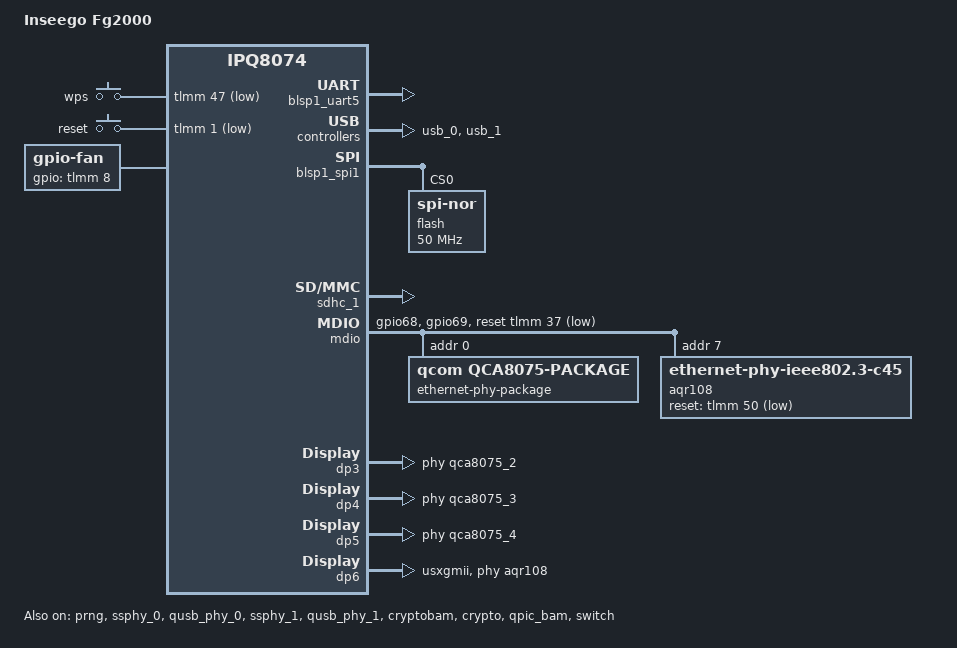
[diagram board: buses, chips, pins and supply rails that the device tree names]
/* SPDX-License-Identifier: GPL-2.0-or-later OR MIT
 *
 * Copyright (c) 2018 Teemo Pango <teemopango@gmail.com>
 *
 */

/dts-v1/;

#include "ipq8074.dtsi"
#include "ipq8074-ess.dtsi"
#include "ipq8074-nss.dtsi"
#include "ipq8074-common.dtsi"
#include "ipq8074-hk-cpu.dtsi"

#include <dt-bindings/gpio/gpio.h>
#include <dt-bindings/input/input.h>
#include <dt-bindings/leds/common.h>

/ {
	model = "Inseego Fg2000";
	compatible = "inseego,fg2000", "qcom,ipq8074";
	
	aliases {
		serial0 = &blsp1_uart5;
		ethernet0 = &dp1;
		ethernet1 = &dp2;
		ethernet2 = &dp3;
		ethernet3 = &dp4;
		ethernet4 = &dp5;
		ethernet5 = &dp6;
		label-mac-device = &dp3;
	};
	
	chosen {
		stdout-path = "serial0:115200n8";
	};
	
	keys {
		compatible = "gpio-keys";
		
		wps-button {
			label = "wps";
			gpios = <&tlmm 47 GPIO_ACTIVE_LOW>;
			linux,code = <KEY_WPS_BUTTON>;
		};
		
		reset-button {
			label = "reset";
			gpios = <&tlmm 1 GPIO_ACTIVE_LOW>;
			linux,code = <KEY_RESTART>;
		};
	};

	// 风扇硬件配置（GPIO控制）
	fan: gpio-fan {
		#cooling-cells = <2>;          // 支持内核温控框架，需2个参数（最小/最大档位）
		compatible = "gpio-fan";       // 使用通用GPIO风扇驱动
		gpios = <&tlmm 8 GPIO_ACTIVE_HIGH>;  // 控制引脚：tlmm控制器的29号引脚，高电平有效
		gpio-fan,speed-map = <0 0>, <1 1>;    // 转速映射：0=停转（低电平），1=运行（高电平）
	};
};

// CPU0温度传感器及散热策略
&cpu0_thermal {
    trips {
        cpu0_trip_active: cpu-active {
            temperature = <60000>;  // 触发温度：60°C（单位：毫摄氏度）
            hysteresis = <2000>;    // 回差温度：2°C（降至58°C时停止散热）
            type = "active";        // 主动散热类型
        };
    };

    cooling-maps {
        cpu-active {
            cooling-device = <&fan THERMAL_NO_LIMIT THERMAL_NO_LIMIT>;  // 关联风扇设备
            trip = <&cpu0_trip_active>;  // 关联温度阈值
        };
    };
};

// CPU1温度传感器及散热策略
&cpu1_thermal {
    trips {
        cpu1_trip_active: cpu-active {
            temperature = <60000>;  // 触发温度：60°C
            hysteresis = <2000>;    // 回差温度：2°C
            type = "active";
        };
    };

    cooling-maps {
        cpu-active {
            cooling-device = <&fan THERMAL_NO_LIMIT THERMAL_NO_LIMIT>;
            trip = <&cpu1_trip_active>;
        };
    };
};

// CPU2温度传感器及散热策略
&cpu2_thermal {
    trips {
        cpu2_trip_active: cpu-active {
            temperature = <60000>;  // 触发温度：60°C
            hysteresis = <2000>;    // 回差温度：2°C
            type = "active";
        };
    };

    cooling-maps {
        cpu-active {
            cooling-device = <&fan THERMAL_NO_LIMIT THERMAL_NO_LIMIT>;
            trip = <&cpu2_trip_active>;
        };
    };
};

// CPU3温度传感器及散热策略
&cpu3_thermal {
    trips {
        cpu3_trip_active: cpu-active {
            temperature = <60000>;  // 触发温度：60°C
            hysteresis = <2000>;    // 回差温度：2°C
            type = "active";
        };
    };

    cooling-maps {
        cpu-active {
            cooling-device = <&fan THERMAL_NO_LIMIT THERMAL_NO_LIMIT>;
            trip = <&cpu3_trip_active>;
        };
    };
};

// CPU集群温度传感器及散热策略
&cluster_thermal {
    trips {
        cluster_active: cluster-active {
            temperature = <60000>;  // 触发温度：60°C
            hysteresis = <2000>;    // 回差温度：2°C
            type = "active";
        };
    };

    cooling-maps {
        cluster-active {
            cooling-device = <&fan THERMAL_NO_LIMIT THERMAL_NO_LIMIT>;
            trip = <&cluster_active>;
        };
    };
};

&tlmm {
	// 修改标签名称，避免与包含文件中的定义冲突
	fg2000_mdio_pins: mdio-state {
		mdc-pins {
			pins = "gpio68";
			function = "mdc";
			drive-strength = <8>;
			bias-disable;
		};
		
		mdio-pins {
			pins = "gpio69";
			function = "mdio";
			drive-strength = <8>;
			bias-pull-up;
		};
	};
};

&edma {
	status = "okay";
};

&blsp1_uart5 {
	status = "okay";
};

&prng {
	status = "okay";
};

&ssphy_0 {
	status = "okay";
};

&qusb_phy_0 {
	status = "okay";
};

&ssphy_1 {
	status = "okay";
};

&qusb_phy_1 {
	status = "okay";
};

&usb_0 {
	status = "okay";
};

&usb_1 {
	status = "okay";
};

&cryptobam {
	status = "okay";
};

&crypto {
	status = "okay";
};

&qpic_bam {
	status = "okay";
};


&blsp1_spi1 {
	status = "okay";

	flash@0 {
		compatible = "jedec,spi-nor";
		spi-max-frequency = <50000000>;
		#address-cells = <1>;
		#size-cells = <1>;
		reg = <0>;

		partitions {
			compatible = "qcom,smem-part";
		};
	};
};

&sdhc_1 {
	status = "okay";

	/delete-property/ mmc-hs400-1_8v;
	mmc-hs200-1_8v;
	mmc-ddr-1_8v;
	vqmmc-supply = <&l11>;
};

&mdio {
	status = "okay";
	// 使用修改后的标签
	pinctrl-0 = <&fg2000_mdio_pins>;
	pinctrl-names = "default";
	reset-gpios = <&tlmm 37 GPIO_ACTIVE_LOW>;
	
	ethernet-phy-package@0 {
		#address-cells = <1>;
		#size-cells = <0>;
		compatible = "qcom,qca8075-package";
		reg = <0>;
		qcom,package-mode = "psgmii";
		
		qca8075_0: ethernet-phy@0 {
			compatible = "ethernet-phy-ieee802.3-c22";
			reg = <0>;
		};
		
		qca8075_1: ethernet-phy@1 {
			compatible = "ethernet-phy-ieee802.3-c22";
			reg = <1>;
		};
		
		qca8075_2: ethernet-phy@2 {
			compatible = "ethernet-phy-ieee802.3-c22";
			reg = <2>;
		};
		
		qca8075_3: ethernet-phy@3 {
			compatible = "ethernet-phy-ieee802.3-c22";
			reg = <3>;
		};
		
		qca8075_4: ethernet-phy@4 {
			compatible = "ethernet-phy-ieee802.3-c22";
			reg = <4>;
		};
	};
	
	aqr108: ethernet-phy@7 {
		compatible = "ethernet-phy-ieee802.3-c45";
		reg = <7>;
		reset-gpios = <&tlmm 50 GPIO_ACTIVE_LOW>;
	};
};

&dp1 {
	status = "disabled";
	phy-handle = <&qca8075_0>;
};

&dp2 {
	status = "disabled";
	phy-handle = <&qca8075_1>;
};

&dp3 {
	status = "okay";
	phy-handle = <&qca8075_2>;
	label = "lan1";
};

&dp4 {
	status = "okay";
	phy-handle = <&qca8075_3>;
	label = "lan2";
};

&dp5 {
	status = "okay";
	phy-handle = <&qca8075_4>;
	label = "lan3";
};

&dp6 {
	status = "okay";
	phy-mode = "usxgmii";
	phy-handle = <&aqr108>;
	label = "5g";
};

&switch {
	status = "okay";
	switch_lan_bmp = <(ESS_PORT3 | ESS_PORT4 | ESS_PORT5)>;
	switch_wan_bmp = <ESS_PORT6>;
	switch_mac_mode = <0>;
	switch_mac_mode1 = <255>;
	switch_mac_mode2 = <13>;
	
	qcom,port_phyinfo {
		port@3 {
			port_id = <3>;
			phy_address = <2>;
		};
		
		port@4 {
			port_id = <4>;
			phy_address = <3>;
		};
		
		port@5 {
			port_id = <5>;
			phy_address = <4>;
		};
		
		port@6 {
			port_id = <6>;
			phy_address = <7>;
			compatible = "ethernet-phy-ieee802.3-c45";
			ethernet-phy-ieee802.3-c45;
		};
	};
};

&wifi {
	status = "disabled";
	compatible = "qcom,ipq8074-wifi";
	qcom,ath11k-fw-memory-mode = <1>;
	qcom,ath11k-calibration-variant = "Inseego-FG2000";
};
